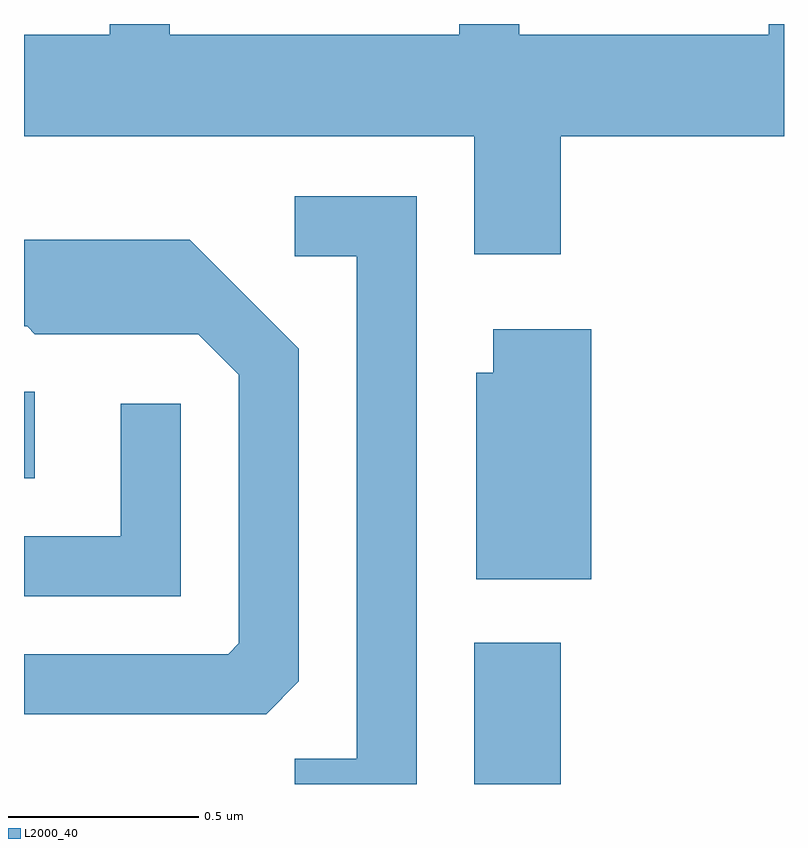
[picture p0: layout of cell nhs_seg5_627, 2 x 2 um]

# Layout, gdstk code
import gdstk
lib = gdstk.Library(unit=1e-6, precision=1e-09)
def R(c, l, rs):  # rectangles x0, y0, x1, y1
    for r in rs: c.add(gdstk.rectangle(r[:2], r[2:], *l))
def P(c, l, *ps):  # polygons
    for p in ps: c.add(gdstk.Polygon(p, *l))
L2000_40 = (2000, 40)

nhs_seg5_627 = lib.new_cell('nhs_seg5_627')
R(nhs_seg5_627, L2000_40, [(190.796,1475.072,191.024,1475.444), (189.611,1475.876,189.639,1476.104)])
P(nhs_seg5_627, L2000_40, [(191.024,1476.776),(191.611,1476.776),(191.611,1477.072),(191.571,1477.072),(191.571,1477.044),(190.914,1477.044),(190.914,1477.072),(190.756,1477.072),(190.756,1477.044),(189.994,1477.044),(189.994,1477.072),(189.836,1477.072),(189.836,1477.044),(189.611,1477.044),(189.611,1476.776),(190.796,1476.776),(190.796,1476.466),(191.024,1476.466)],
  [(190.644,1476.619),(190.323,1476.619),(190.323,1476.461),(190.486,1476.461),(190.486,1475.139),(190.323,1475.139),(190.323,1475.072),(190.644,1475.072)],
  [(190.334,1475.342),(190.334,1476.217),(190.047,1476.504),(189.611,1476.504),(189.611,1476.276),(189.619,1476.276),(189.639,1476.256),(190.069,1476.256),(190.176,1476.149),(190.176,1475.442),(190.149,1475.414),(189.611,1475.414),(189.611,1475.256),(190.249,1475.256)],
  [(191.104,1476.269),(190.846,1476.269),(190.846,1476.154),(190.801,1476.154),(190.801,1475.611),(191.104,1475.611)],
  [(190.024,1476.073),(189.866,1476.073),(189.866,1475.724),(189.611,1475.724),(189.611,1475.566),(190.024,1475.566)])

lib.write_gds('nhs_seg5_627.gds')
